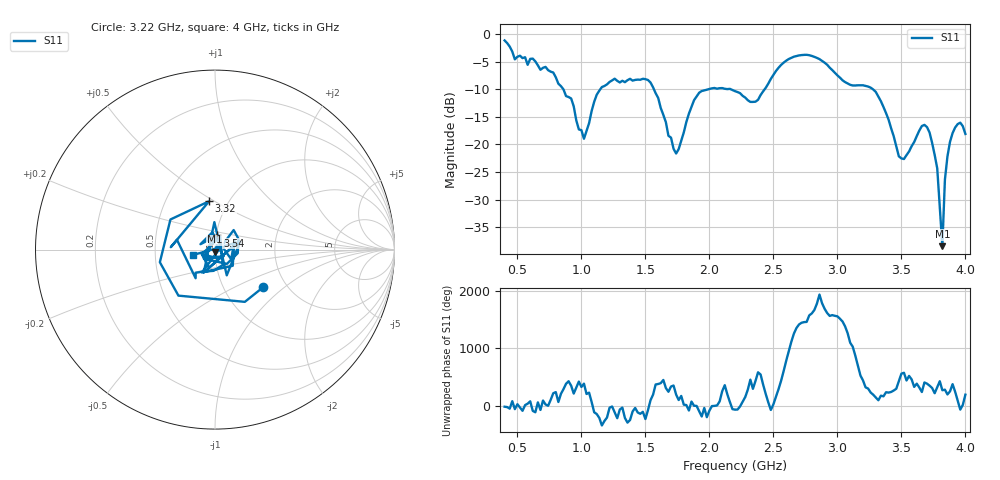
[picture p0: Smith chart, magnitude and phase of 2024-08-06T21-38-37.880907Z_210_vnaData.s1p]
!Created with skrf (http://scikit-rf.org).
# Hz S RI R 50.0
!freq ReS11 ImS11
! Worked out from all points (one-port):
!   181 points, 400 MHz to 4 GHz, reference 50 ohm
!   lowest |S11| = -38.4 dB at 3.82 GHz (marker M1), VSWR 1.02, Z = 50 - j1.2 ohm
!   |S11| at or under -10 dB: 859.6 MHz to 1.147 GHz (287.6 MHz wide, 28.7 % of centre); 1.567 GHz to 1.99 GHz (423.1 MHz wide, 23.8 % of centre); 3.278 GHz to end of sweep (the widest 3 of 4)
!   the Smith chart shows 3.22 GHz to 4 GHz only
!   S11 on the Smith chart (normalised r, x): 3.22 GHz: 1.52, -0.72; 3.32 GHz: 0.81, +0.47; 3.54 GHz: 1.01, +0.16; 4 GHz: 0.78, -0.05
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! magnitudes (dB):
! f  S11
! 400 MHz  -1.1
! 480 MHz  -4.6
! 620 MHz  -4.4
! 860 MHz  -10.0
! 1.02 GHz  -19.0
! 1.14 GHz  -10.2
! 1.3 GHz  -8.8
! 1.54 GHz  -8.8
! 1.72 GHz  -20.8
! 1.76 GHz  -20.8
! 1.92 GHz  -10.6
! 2.2 GHz  -10.3
! 2.36 GHz  -12.2
! 2.66 GHz  -4.1
! 3.1 GHz  -9.2
! 3.22 GHz  -9.4
! 3.32 GHz  -11.3
! 3.48 GHz  -22.1
! 3.54 GHz  -21.9
! 3.56 GHz  -21.3
! 3.66 GHz  -16.6
! 3.72 GHz  -17.8
! 3.78 GHz  -24.3
! 3.82 GHz  -38.4
! 3.84 GHz  -26.4
! 3.88 GHz  -19.5
! 3.96 GHz  -16.0
! 4 GHz  -18.1
